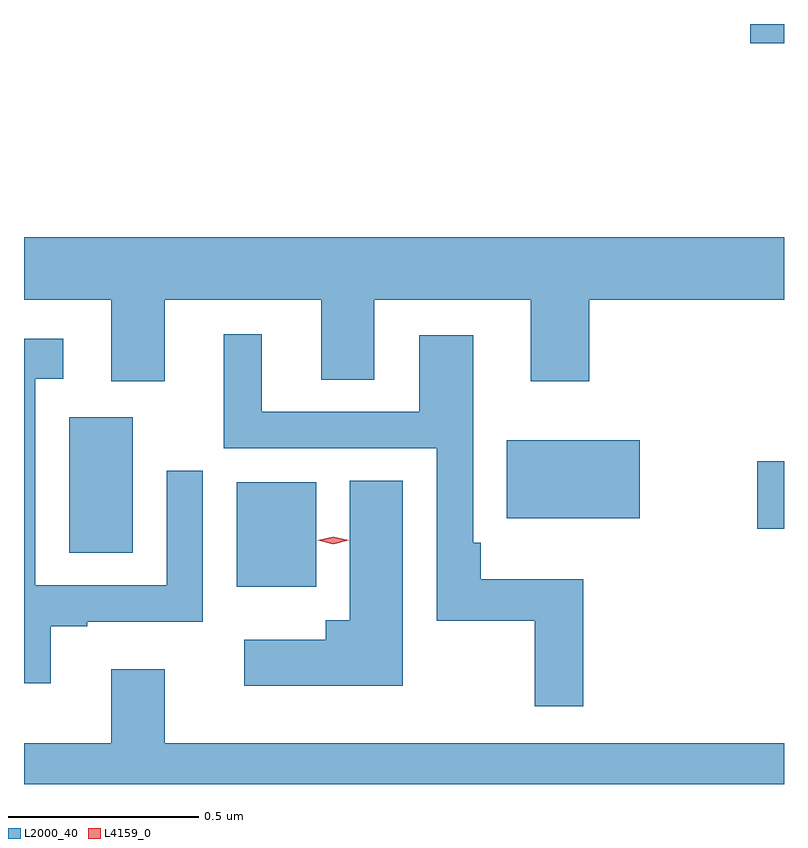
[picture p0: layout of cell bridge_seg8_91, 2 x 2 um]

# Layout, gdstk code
import gdstk
lib = gdstk.Library(unit=1e-6, precision=1e-09)
def R(c, l, rs):  # rectangles x0, y0, x1, y1
    for r in rs: c.add(gdstk.rectangle(r[:2], r[2:], *l))
def P(c, l, *ps):  # polygons
    for p in ps: c.add(gdstk.Polygon(p, *l))
L2000_40 = (2000, 40)
L4159_0 = (4159, 0)

bridge_seg8_91 = lib.new_cell('bridge_seg8_91')
R(bridge_seg8_91, L2000_40, [(664.817,1103.756,665.026,1104.031), (664.376,1103.845,664.543,1104.202), (666.186,1103.909,666.257,1104.087), (665.528,1103.936,665.878,1104.142), (666.168,1105.187,666.257,1105.237)])
P(bridge_seg8_91, L2000_40, [(664.627,1104.512),(665.039,1104.512),(665.039,1104.301),(665.179,1104.301),(665.179,1104.512),(665.591,1104.512),(665.591,1104.297),(665.744,1104.297),(665.744,1104.512),(666.257,1104.512),(666.257,1104.676),(664.257,1104.676),(664.257,1104.512),(664.487,1104.512),(664.487,1104.297),(664.627,1104.297)],
  [(665.729,1103.776),(665.459,1103.776),(665.459,1103.872),(665.439,1103.872),(665.439,1104.418),(665.297,1104.418),(665.297,1104.216),(664.882,1104.216),(664.882,1104.421),(664.783,1104.421),(664.783,1104.12),(665.343,1104.12),(665.343,1103.667),(665.601,1103.667),(665.601,1103.442),(665.729,1103.442)],
  [(664.327,1103.652),(664.423,1103.652),(664.423,1103.664),(664.728,1103.664),(664.728,1104.061),(664.632,1104.061),(664.632,1103.76),(664.287,1103.76),(664.287,1104.303),(664.36,1104.303),(664.36,1104.409),(664.257,1104.409),(664.257,1103.502),(664.327,1103.502)],
  [(665.254,1104.035),(665.114,1104.035),(665.114,1103.668),(665.051,1103.668),(665.051,1103.617),(664.836,1103.617),(664.836,1103.495),(665.254,1103.495)],
  [(666.257,1103.344),(664.627,1103.344),(664.627,1103.539),(664.487,1103.539),(664.487,1103.344),(664.257,1103.344),(664.257,1103.237),(666.257,1103.237)])
P(bridge_seg8_91, L4159_0, [(665.071,1103.868),(665.03,1103.878),(665.03,1103.878),(665.03,1103.878),(665.071,1103.888),(665.112,1103.878),(665.112,1103.878),(665.112,1103.878)])

lib.write_gds('bridge_seg8_91.gds')
